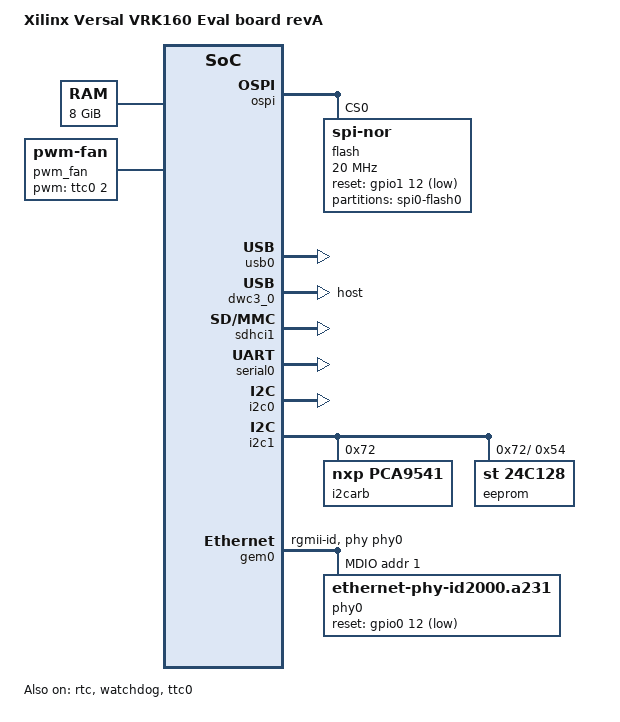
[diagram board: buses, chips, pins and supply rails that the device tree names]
// SPDX-License-Identifier: GPL-2.0
/*
 * dts file for Xilinx Versal VRK160 revA
 *
 * (C) Copyright 2025, Advanced Micro Devices, Inc
 *
 * Michal Simek <michal.simek@amd.com>
 */

#include <dt-bindings/net/ti-dp83867.h>
#include <dt-bindings/gpio/gpio.h>
#include "versal.dtsi"
#include "versal-clk.dtsi"

/ {
	compatible = "xlnx,versal-vrk160-revA", "xlnx,versal-vrk160",
		     "xlnx,versal";
	model = "Xilinx Versal VRK160 Eval board revA";

	memory: memory@0 {
		device_type = "memory";
		reg = <0 0 0 0x80000000>, <0x8 0x00000000 0x1 0x80000000>; /* 2GB + 6GB */
	};

	chosen {
		bootargs = "console=ttyAMA0 earlycon=pl011,mmio32,0xFF000000,115200n8";
		stdout-path = "serial0:115200";
	};

	aliases {
		serial0 = &serial0;
		serial2 = &dcc;
		i2c0 = &i2c0;
		i2c1 = &i2c1;
		mmc0 = &sdhci1;
		spi0 = &ospi;
		usb0 = &usb0;
		rtc0 = &rtc;
		nvmem0 = &eeprom;
	};

	pwm_fan: pwm-fan {
		compatible = "pwm-fan";
		status = "okay";
		pwms = <&ttc0 2 40000 1>; /* not sure about polarity here */
	};
};

/* SD_BUSPWR - PMC MIO51 */
/* SYSTEM_PD - PMC MIO50 */
/* PL_PD - PMC MIO49 */
/* AIE_PD - PMC MIO48 */
/* FPD_PD - PMC MIO11 */
/* I2C SYSMON - LPD MIO18 - 20 */

&ospi { /* PMC MIO0-10, 12, u82 MT35XU02G */
	status = "okay";
	bus-num = <2>;
	num-cs = <1>;
	#stream-id-cells = <1>;
	#address-cells = <1>;
	#size-cells = <0>;

	flash@0 {
		compatible = "jedec,spi-nor";
		reg = <0>;
		#address-cells = <1>;
		#size-cells = <1>;
		cdns,read-delay = <0>;
		cdns,tshsl-ns = <0>;
		cdns,tsd2d-ns = <0>;
		cdns,tchsh-ns = <1>;
		cdns,tslch-ns = <1>;
		spi-tx-bus-width = <8>;
		spi-rx-bus-width = <8>;
		spi-max-frequency = <20000000>;
		no-wp;
		reset-gpios = <&gpio1 12 GPIO_ACTIVE_LOW>;
		partitions {
			compatible = "fixed-partitions";
			#address-cells = <1>;
			#size-cells = <1>;

			partition@0 {
				label = "spi0-flash0";
				reg = <0 0x10000000>;
			};
		};
	};
};

&usb0 { /* PMC_MIO13_500 - PMC_MIO25 USB 2.0 */
	status = "okay";
};

&dwc3_0 { /* USB 2.0 host */
	status = "okay";
	dr_mode = "host";
	maximum-speed = "high-speed";
	snps,dis_u2_susphy_quirk;
	snps,dis_u3_susphy_quirk;
	snps,usb3_lpm_capable;
};

&sdhci1 { /* PMC_MIO26-36/51 */
	status = "okay";
	xlnx,mio-bank = <1>;
	no-1-8-v;
};

&serial0 { /* PMC_MIO38/39 - BOARD_I2C0 */
	status = "okay";
};

&i2c0 { /* PMC_MIO42/43 */
	status = "okay";
};

&i2c1 { /* PMC_MIO44/45 */
	status = "okay";
	bootph-all;

	i2carb: i2c-arbitrator@72 { /* u18 */
		compatible = "nxp,pca9541";
		reg = <0x72>;

		i2carb1: i2c-arb {
			#address-cells = <1>;
			#size-cells = <0>;

			/* Use for storing information about board */
			eeprom: eeprom@54 { /* u21 - m24128 16kB */
				compatible = "st,24c128", "atmel,24c128";
				reg = <0x54>; /* & 0x5c */
			};
		};
	};
};

&rtc {
	status = "okay";
};

&gpio0 {
	status = "okay";
};

&gpio1 {
	status = "okay";
};

&watchdog {
	status = "okay";
};

&ttc0 { /* LPD_MIO23 FAN_PWM */
        status = "okay";
        #pwm-cells = <3>;
};

&gem0 { /* PMC_MIO_48, LPD_MIO0-11/24/25 */
	status = "okay";
	phy-handle = <&phy0>;
	phy-mode = "rgmii-id";
	mdio: mdio {
		#address-cells = <1>;
		#size-cells = <0>;
		phy0: ethernet-phy@1 { /* u201 */
			#phy-cells = <1>;
			compatible = "ethernet-phy-id2000.a231";
			reg = <1>;
			ti,rx-internal-delay = <DP83867_RGMIIDCTL_3_00_NS>;
			ti,tx-internal-delay = <DP83867_RGMIIDCTL_2_75_NS>;
			ti,fifo-depth = <1>;
			ti,dp83867-rxctrl-strap-quirk;
			reset-assert-us = <100>;
			reset-deassert-us = <280>;
			reset-gpios = <&gpio0 12 GPIO_ACTIVE_LOW>;
		};
	};
};
